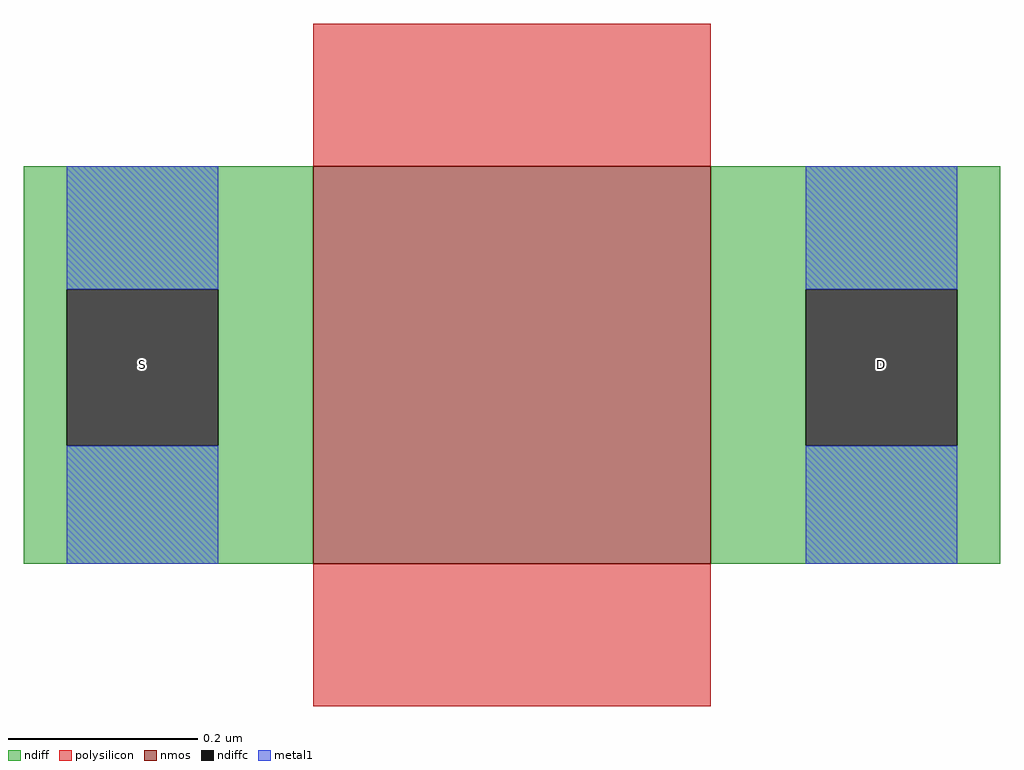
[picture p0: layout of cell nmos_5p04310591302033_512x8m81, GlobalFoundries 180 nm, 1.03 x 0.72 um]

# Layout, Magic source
magic
tech gf180mcuD
magscale 1 10
<< nmos >>
rect 0 0 84 84
<< ndiff >>
rect -61 58 0 84
rect -61 25 -52 58
rect -20 25 0 58
rect -61 0 0 25
rect 84 58 145 84
rect 84 25 104 58
rect 136 25 145 58
rect 84 0 145 25
<< ndiffc >>
rect -52 25 -20 58
rect 104 25 136 58
<< polysilicon >>
rect 0 84 84 114
rect 0 -30 84 0
<< metal1 >>
rect -52 58 -20 84
rect -52 0 -20 25
rect 104 58 136 84
rect 104 0 136 25
<< labels >>
flabel ndiffc -36 42 -36 42 0 FreeSans 140 0 0 0 S
flabel ndiffc 120 42 120 42 0 FreeSans 140 0 0 0 D
<< end >>
